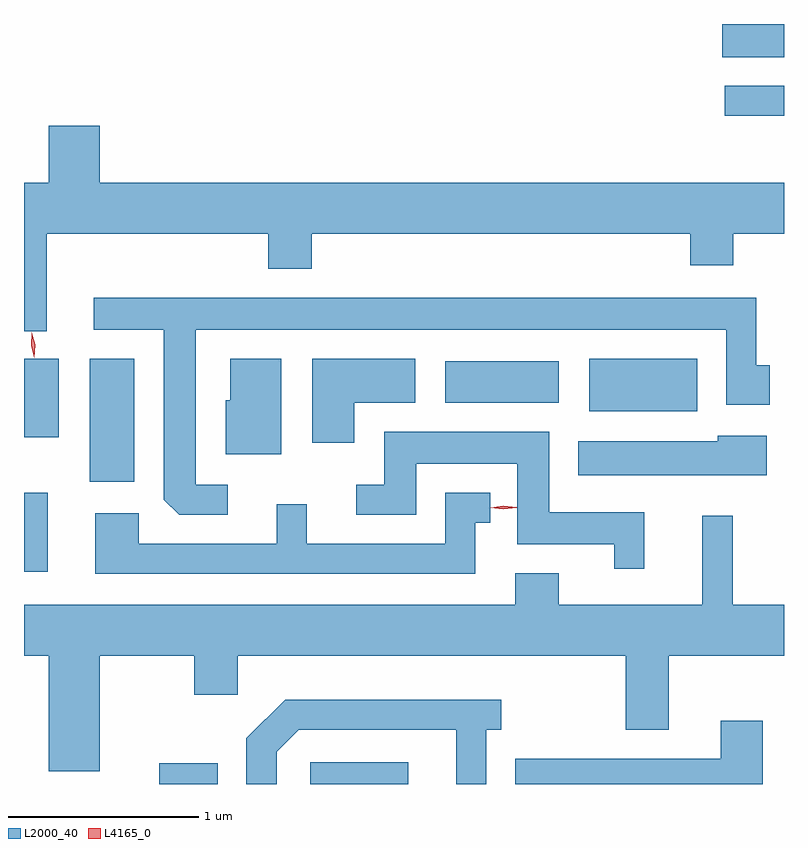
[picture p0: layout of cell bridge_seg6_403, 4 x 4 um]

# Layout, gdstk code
import gdstk
lib = gdstk.Library(unit=1e-6, precision=1e-09)
def R(c, l, rs):  # rectangles x0, y0, x1, y1
    for r in rs: c.add(gdstk.rectangle(r[:2], r[2:], *l))
def P(c, l, *ps):  # polygons
    for p in ps: c.add(gdstk.Polygon(p, *l))
L2000_40 = (2000, 40)
L4165_0 = (4165, 0)

bridge_seg6_403 = lib.new_cell('bridge_seg6_403')
R(bridge_seg6_403, L2000_40, [(894.976,1607.08,895.284,1607.189), (895.771,1607.08,896.288,1607.194), (894.265,1608.196,894.389,1608.613), (894.611,1608.671,894.844,1609.319), (894.265,1608.906,894.449,1609.319), (897.241,1609.041,897.809,1609.319), (896.481,1609.086,897.079,1609.304), (897.953,1610.596,898.265,1610.754), (897.941,1610.906,898.265,1611.08)])
P(bridge_seg6_403, L2000_40, [(894.384,1609.976),(895.551,1609.976),(895.551,1609.791),(895.779,1609.791),(895.779,1609.976),(897.771,1609.976),(897.771,1609.811),(897.999,1609.811),(897.999,1609.976),(898.265,1609.976),(898.265,1610.244),(894.664,1610.244),(894.664,1610.544),(894.396,1610.544),(894.396,1610.244),(894.265,1610.244),(894.265,1609.463),(894.384,1609.463)],
  [(895.338,1608.654),(895.169,1608.654),(895.169,1609.471),(897.961,1609.471),(897.961,1609.076),(898.189,1609.076),(898.189,1609.284),(898.119,1609.284),(898.119,1609.639),(894.633,1609.639),(894.633,1609.471),(895.001,1609.471),(895.001,1608.577),(895.082,1608.496),(895.338,1608.496)],
  [(895.619,1609.319),(895.351,1609.319),(895.351,1609.099),(895.326,1609.099),(895.326,1608.816),(895.619,1608.816)],
  [(896.004,1609.086),(896.324,1609.086),(896.324,1609.319),(895.781,1609.319),(895.781,1608.876),(896.004,1608.876)],
  [(897.529,1608.509),(897.029,1608.509),(897.029,1608.934),(896.161,1608.934),(896.161,1608.654),(896.013,1608.654),(896.013,1608.496),(896.329,1608.496),(896.329,1608.766),(896.861,1608.766),(896.861,1608.341),(897.371,1608.341),(897.371,1608.213),(897.529,1608.213)],
  [(898.174,1608.914),(897.916,1608.914),(897.916,1608.884),(897.181,1608.884),(897.181,1608.706),(898.174,1608.706)],
  [(896.639,1608.456),(896.718,1608.456),(896.718,1608.614),(896.481,1608.614),(896.481,1608.344),(895.754,1608.344),(895.754,1608.553),(895.596,1608.553),(895.596,1608.344),(894.869,1608.344),(894.869,1608.504),(894.641,1608.504),(894.641,1608.186),(896.639,1608.186)],
  [(894.664,1607.756),(895.161,1607.756),(895.161,1607.551),(895.389,1607.551),(895.389,1607.756),(897.431,1607.756),(897.431,1607.366),(897.659,1607.366),(897.659,1607.756),(898.265,1607.756),(898.265,1608.024),(897.994,1608.024),(897.994,1608.493),(897.836,1608.493),(897.836,1608.024),(897.079,1608.024),(897.079,1608.189),(896.851,1608.189),(896.851,1608.024),(894.265,1608.024),(894.265,1607.756),(894.396,1607.756),(894.396,1607.146),(894.664,1607.146)],
  [(895.594,1607.249),(895.712,1607.366),(896.541,1607.366),(896.541,1607.08),(896.699,1607.08),(896.699,1607.366),(896.778,1607.366),(896.778,1607.524),(895.639,1607.524),(895.436,1607.322),(895.436,1607.08),(895.594,1607.08)],
  [(898.154,1607.414),(897.931,1607.414),(897.931,1607.214),(896.851,1607.214),(896.851,1607.08),(898.154,1607.08)])
P(bridge_seg6_403, L4165_0, [(896.788,1608.525),(896.719,1608.534),(896.719,1608.535),(896.719,1608.535),(896.788,1608.545),(896.858,1608.536),(896.858,1608.535),(896.858,1608.535)],
  [(894.32,1609.324),(894.32,1609.324),(894.303,1609.389),(894.306,1609.456),(894.307,1609.457),(894.307,1609.456),(894.323,1609.391),(894.32,1609.324)])

lib.write_gds('bridge_seg6_403.gds')
